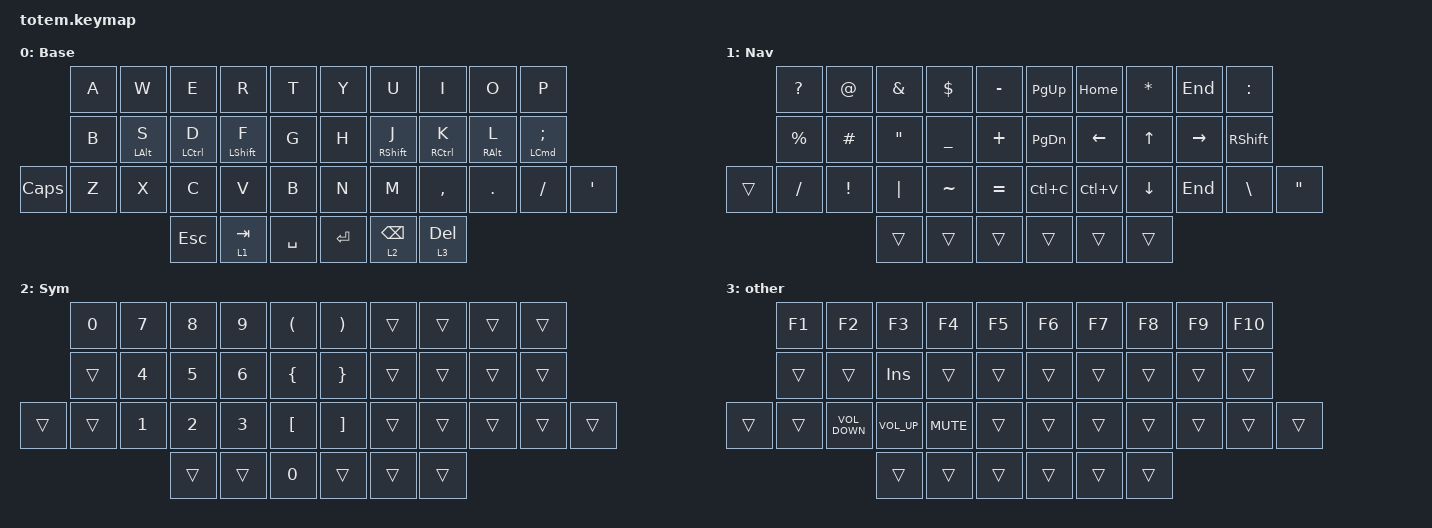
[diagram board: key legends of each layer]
//
//                                                        ▀▀▀▀▀     ▀▀▀▀▀          ▀▀█▀▀
//                                                        ▄▀▀▀▄  ▄  ▄▀▀▀▄  ▄  ▄▀▀▀▄  █  ▄▀▀▀▄
//                                                        █   █  █  █   █  █  █   █  █  █   █
//                                                         ▀▀▀   █   ▀▀▀   █   ▀▀▀   ▀   ▀▀▀
//                                                               █      ▄▄▄█▄▄▄    █   █  
//                                                               ▀      █  █  █     █▄█
//                                                             ▀▀▀▀▀    █  █  █      ▀
//                                                                      ▀  ▀  ▀
//
// ▄▄▄▄▄▄▄▄▄▄▄▄▄▄▄▄▄▄▄▄▄▄▄▄▄▄▄▄▄▄▄▄▄▄▄▄▄▄▄▄▄▄▄▄▄▄▄▄▄▄▄▄▄▄▄▄▄▄▄▄▄▄▄▄▄▄▄▄▄▄▄▄▄▄▄▄▄▄▄▄▄▄▄▄▄▄▄▄▄▄▄▄▄▄▄▄▄▄▄▄▄▄▄▄▄▄▄▄▄▄▄▄▄▄▄▄▄▄▄▄▄▄▄▄▄▄▄▄▄▄▄▄▄▄▄▄▄▄▄▄▄▄▄▄▄▄▄▄▄

#include <behaviors.dtsi>
#include <dt-bindings/zmk/keys.h>

#define Base        0
#define Media       1
#define Nav         2
#define Mouse       3
#define Sym         4
#define Num         5
#define Fun         6
#define Button      7
#define Game        8
#define Gameplus    9

&mt {
    quick-tap-ms = <100>;
    global-quick-tap;
    flavor = "tap-preferred";
    tapping-term-ms = <170>;
};

&lt {
    tapping-term-ms = <240>;
    flavor = "balanced";
    quick-tap-ms = <150>;
};

/ {
    behaviors {
        hm: homerow_mods {
            compatible = "zmk,behavior-hold-tap";
            label = "HOMEROW_MODS";
            #binding-cells = <2>;
            flavor = "tap-preferred";
            tapping-term-ms = <200>;
            quick-tap-ms = <125>;
            global-quick-tap;
            bindings = <&kp>, <&kp>;
        };
    };

    combos { compatible = "zmk,combos"; };

    keymap {
        compatible = "zmk,keymap";

        Base {
            label = "Base";
            bindings = <
              &kp A  &kp W           &kp E        &kp R         &kp T        &kp Y      &kp U        &kp I         &kp O       &kp P
              &kp B  &hm LEFT_ALT S  &hm LCTRL D  &hm LSHIFT F  &kp G        &kp H      &hm RSHFT J  &hm RCTRL K   &hm RALT L  &hm LCMD SEMICOLON
&kp CAPSLOCK  &kp Z  &kp X           &kp C        &kp V         &kp B        &kp N      &kp M        &kp COMMA     &kp DOT     &kp SLASH           &kp SQT
                                     &kp ESCAPE   &lt 1 TAB     &kp SPACE    &kp ENTER  &lt 2 BSPC   &lt 3 DELETE
            >;
        };

        Nav {
            label = "Nav";
            bindings = <
        &kp QUESTION  &kp AT_SIGN      &kp AMPERSAND      &kp DOLLAR      &kp MINUS    &kp PAGE_UP    &kp HOME   &kp ASTERISK  &kp END    &kp COLON
        &kp PERCENT   &kp HASH         &kp DOUBLE_QUOTES  &kp UNDERSCORE  &kp PLUS     &kp PAGE_DOWN  &kp LEFT   &kp UP_ARROW  &kp RIGHT  &kp RIGHT_SHIFT
&trans  &kp SLASH     &kp EXCLAMATION  &kp PIPE           &kp TILDE       &kp EQUAL    &kp LC(C)      &kp LC(V)  &kp DOWN      &kp END    &kp BACKSLASH    &kp DOUBLE_QUOTES
                                       &trans             &trans          &trans       &trans         &trans     &trans
            >;
        };

        Sym {
            label = "Sym";
            bindings = <
        &kp N0  &kp N7        &kp N8        &kp N9        &kp LEFT_PARENTHESIS    &kp RIGHT_PARENTHESIS  &trans  &trans  &trans  &trans
        &trans  &kp NUMBER_4  &kp N5        &kp NUMBER_6  &kp LEFT_BRACE          &kp RIGHT_BRACE        &trans  &trans  &trans  &trans
&trans  &trans  &kp NUMBER_1  &kp NUMBER_2  &kp NUMBER_3  &kp LEFT_BRACKET        &kp RIGHT_BRACKET      &trans  &trans  &trans  &trans  &trans
                              &trans        &trans        &kp NUMBER_0            &trans                 &trans  &trans
            >;
        };

        other {
            bindings = <
        &kp F1  &kp F2             &kp F3           &kp F4      &kp F5    &kp F6  &kp F7  &kp F8  &kp F9  &kp F10
        &trans  &trans             &kp INS          &trans      &trans    &trans  &trans  &trans  &trans  &trans
&trans  &trans  &kp C_VOLUME_DOWN  &kp C_VOLUME_UP  &kp K_MUTE  &trans    &trans  &trans  &trans  &trans  &trans   &trans
                                   &trans           &trans      &trans    &trans  &trans  &trans
            >;
        };
    };
};
